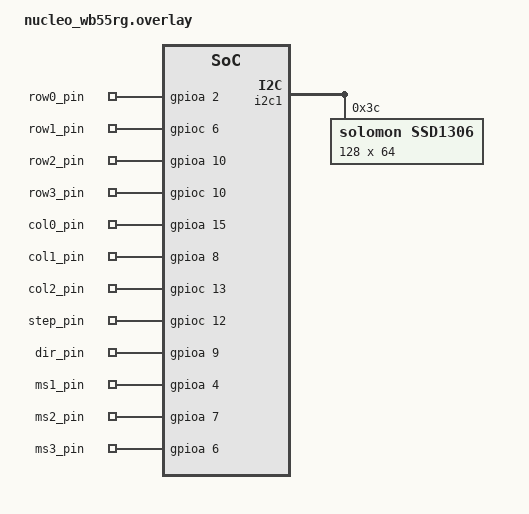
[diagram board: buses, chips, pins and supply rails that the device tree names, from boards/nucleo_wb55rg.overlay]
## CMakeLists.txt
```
cmake_minimum_required(VERSION 3.20.0)
find_package(Zephyr REQUIRED HINTS $ENV{ZEPHYR_BASE})
project(pet_feeder)
target_sources(app PRIVATE src/main.c)
```

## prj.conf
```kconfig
CONFIG_GPIO=y
CONFIG_I2C=y
CONFIG_DISPLAY=y
CONFIG_SSD1306=y
CONFIG_CHARACTER_FRAMEBUFFER=y
CONFIG_HEAP_MEM_POOL_SIZE=1024
```

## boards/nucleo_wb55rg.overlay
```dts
/ {
    aliases {
        row0 = &row0_pin;
        row1 = &row1_pin;
        row2 = &row2_pin;
        row3 = &row3_pin;
        col0 = &col0_pin;
        col1 = &col1_pin;
        col2 = &col2_pin;
        step = &step_pin;
        dir  = &dir_pin;
        ms1  = &ms1_pin;
        ms2  = &ms2_pin;
        ms3  = &ms3_pin;
    };

    keypad_motor_pins {
        compatible = "gpio-leds";
        row0_pin: row0 {
            gpios = <&gpioa 2 GPIO_ACTIVE_HIGH>;
        };
        row1_pin: row1 {
            gpios = <&gpioc 6 GPIO_ACTIVE_HIGH>;
        };
        row2_pin: row2 {
            gpios = <&gpioa 10 GPIO_ACTIVE_HIGH>;
        };
        row3_pin: row3 {
            gpios = <&gpioc 10 GPIO_ACTIVE_HIGH>;
        };
        col0_pin: col0 {
            gpios = <&gpioa 15 GPIO_ACTIVE_HIGH>;
        };
        col1_pin: col1 {
            gpios = <&gpioa 8 GPIO_ACTIVE_HIGH>;
        };
        col2_pin: col2 {
            gpios = <&gpioc 13 GPIO_ACTIVE_HIGH>;
        };
        step_pin: step {
            gpios = <&gpioc 12 GPIO_ACTIVE_HIGH>;
        };
        dir_pin: dir {
            gpios = <&gpioa 9 GPIO_ACTIVE_HIGH>;
        };
        ms1_pin: ms1 {
            gpios = <&gpioa 4 GPIO_ACTIVE_HIGH>;
        };
        ms2_pin: ms2 {
            gpios = <&gpioa 7 GPIO_ACTIVE_HIGH>;
        };
        ms3_pin: ms3 {
            gpios = <&gpioa 6 GPIO_ACTIVE_HIGH>;
        };
    };
};

&i2c1 {
    status = "okay";
    ssd1306: ssd1306@3c {
        compatible = "solomon,ssd1306";
        reg = <0x3c>;
        width = <128>;
        height = <64>;
        segment-offset = <0>;
        page-offset = <0>;
        display-offset = <0>;
        multiplex-ratio = <63>;
        segment-remap;
        com-invdir;
        prechargep = <0x22>;
    };
};
```

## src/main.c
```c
#include <zephyr/kernel.h>
#include <zephyr/device.h>
#include <zephyr/drivers/gpio.h>
#include <zephyr/display/cfb.h>
#include <zephyr/drivers/display.h>
#include <stdio.h>

/* OLED */
static const struct device *display_dev;

/* Keypad pins */
static const struct gpio_dt_spec rows[4] = {
    GPIO_DT_SPEC_GET(DT_ALIAS(row0), gpios),
    GPIO_DT_SPEC_GET(DT_ALIAS(row1), gpios),
    GPIO_DT_SPEC_GET(DT_ALIAS(row2), gpios),
    GPIO_DT_SPEC_GET(DT_ALIAS(row3), gpios),
};

static const struct gpio_dt_spec cols[3] = {
    GPIO_DT_SPEC_GET(DT_ALIAS(col0), gpios),
    GPIO_DT_SPEC_GET(DT_ALIAS(col1), gpios),
    GPIO_DT_SPEC_GET(DT_ALIAS(col2), gpios),
};

/* Motor pins */
static const struct gpio_dt_spec step_pin = GPIO_DT_SPEC_GET(DT_ALIAS(step), gpios);
static const struct gpio_dt_spec dir_pin  = GPIO_DT_SPEC_GET(DT_ALIAS(dir),  gpios);
static const struct gpio_dt_spec ms1_pin  = GPIO_DT_SPEC_GET(DT_ALIAS(ms1),  gpios);
static const struct gpio_dt_spec ms2_pin  = GPIO_DT_SPEC_GET(DT_ALIAS(ms2),  gpios);
static const struct gpio_dt_spec ms3_pin  = GPIO_DT_SPEC_GET(DT_ALIAS(ms3),  gpios);

/* Keymap */
static const char keys[4][3] = {
    {'1', '2', '3'},
    {'4', '5', '6'},
    {'7', '8', '9'},
    {'*', '0', '#'}
};

/* Time variables */
static int current_hour = 0;
static int current_min  = 0;
static int feed_hour    = -1;
static int feed_min     = -1;

/* Display helper */
void oled_show(const char *line1, const char *line2)
{
    cfb_framebuffer_clear(display_dev, true);
    cfb_print(display_dev, line1, 0, 0);
    if (line2) {
        cfb_print(display_dev, line2, 0, 16);
    }
    cfb_framebuffer_finalize(display_dev);
}

/* Show main screen */
void show_main(void)
{
    char line1[20];
    char line2[20];
    snprintf(line1, sizeof(line1), "Time: %02d:%02d", current_hour, current_min);
    if (feed_hour >= 0) {
        snprintf(line2, sizeof(line2), "Feed: %02d:%02d", feed_hour, feed_min);
    } else {
        snprintf(line2, sizeof(line2), "Feed: not set");
    }
    oled_show(line1, line2);
}

/* Motor feed */
void feed(int steps)
{
    gpio_pin_set_dt(&dir_pin, 1);
    for (int i = 0; i < steps; i++) {
        gpio_pin_set_dt(&step_pin, 1);
        k_usleep(1000);
        gpio_pin_set_dt(&step_pin, 0);
        k_usleep(1000);
    }
}

/* Scan keypad */
char scan_keypad(void)
{
    for (int r = 0; r < 4; r++) {
        gpio_pin_set_dt(&rows[r], 1);
        k_msleep(10);
        for (int c = 0; c < 3; c++) {
            if (gpio_pin_get_dt(&cols[c])) {
                gpio_pin_set_dt(&rows[r], 0);
                k_msleep(200);
                return keys[r][c];
            }
        }
        gpio_pin_set_dt(&rows[r], 0);
    }
    return 0;
}

/* Get 4 digit time input HHMM */
bool get_time_input(int *hour, int *min)
{
    char digits[4];
    int count = 0;
    char buf[20];

    oled_show("Enter time:", "HHMM + #");

    while (count < 4) {
        char key = scan_keypad();
        if (key >= '0' && key <= '9') {
            digits[count++] = key - '0';
            snprintf(buf, sizeof(buf), "-> %c%c:%c%c",
                count > 0 ? '0' + digits[0] : '-',
                count > 1 ? '0' + digits[1] : '-',
                count > 2 ? '0' + digits[2] : '-',
                count > 3 ? '0' + digits[3] : '-');
            oled_show("Enter time:", buf);
        }
        if (key == '#' && count == 4) {
            break;
        }
    }

    *hour = digits[0] * 10 + digits[1];
    *min  = digits[2] * 10 + digits[3];

    if (*hour > 23 || *min > 59) {
        oled_show("Invalid time!", NULL);
        k_msleep(2000);
        return false;
    }
    return true;
}

int main(void)
{
    /* Initialize OLED */
    display_dev = DEVICE_DT_GET_ONE(solomon_ssd1306);
    if (!device_is_ready(display_dev)) {
        return -1;
    }
    display_blanking_off(display_dev);
    cfb_framebuffer_init(display_dev);

    /* Initialize keypad */
    for (int i = 0; i < 4; i++) {
        gpio_pin_configure_dt(&rows[i], GPIO_OUTPUT_INACTIVE);
    }
    for (int i = 0; i < 3; i++) {
        gpio_pin_configure_dt(&cols[i], GPIO_INPUT | GPIO_PULL_DOWN);
    }

    /* Initialize motor */
    gpio_pin_configure_dt(&step_pin, GPIO_OUTPUT_INACTIVE);
    gpio_pin_configure_dt(&dir_pin,  GPIO_OUTPUT_INACTIVE);
    gpio_pin_configure_dt(&ms1_pin,  GPIO_OUTPUT_INACTIVE);
    gpio_pin_configure_dt(&ms2_pin,  GPIO_OUTPUT_INACTIVE);
    gpio_pin_configure_dt(&ms3_pin,  GPIO_OUTPUT_INACTIVE);

    /* Half step mode */
    gpio_pin_set_dt(&ms1_pin, 1);
    gpio_pin_set_dt(&ms2_pin, 0);
    gpio_pin_set_dt(&ms3_pin, 0);

    show_main();

    int seconds = 0;

    while (1) {
        char key = scan_keypad();

        if (key == '#') {
            /* Manual feed */
            oled_show("Feeding...", NULL);
            feed(200);
            show_main();

        } else if (key == '0') {
            /* Set current time */
            int h, m;
            if (get_time_input(&h, &m)) {
                current_hour = h;
                current_min  = m;
                seconds = 0;
                oled_show("Time set!", NULL);
                k_msleep(1000);
                show_main();
            }

        } else if (key == '*') {
            /* Set feeding time */
            int h, m;
            if (get_time_input(&h, &m)) {
                feed_hour = h;
                feed_min  = m;
                oled_show("Feed time set!", NULL);
                k_msleep(1000);
                show_main();
            }
        }

        /* Update clock every second */
        k_msleep(1000);
        seconds++;
        if (seconds >= 60) {
            seconds = 0;
            current_min++;
            if (current_min >= 60) {
                current_min = 0;
                current_hour++;
                if (current_hour >= 24) {
                    current_hour = 0;
                }
            }
            show_main();
        }

        /* Check feeding time */
        if (feed_hour >= 0 &&
            current_hour == feed_hour &&
            current_min  == feed_min  &&
            seconds == 0) {
            oled_show("Auto feeding!", NULL);
            feed(200);
            show_main();
        }
    }

    return 0;
}
```
